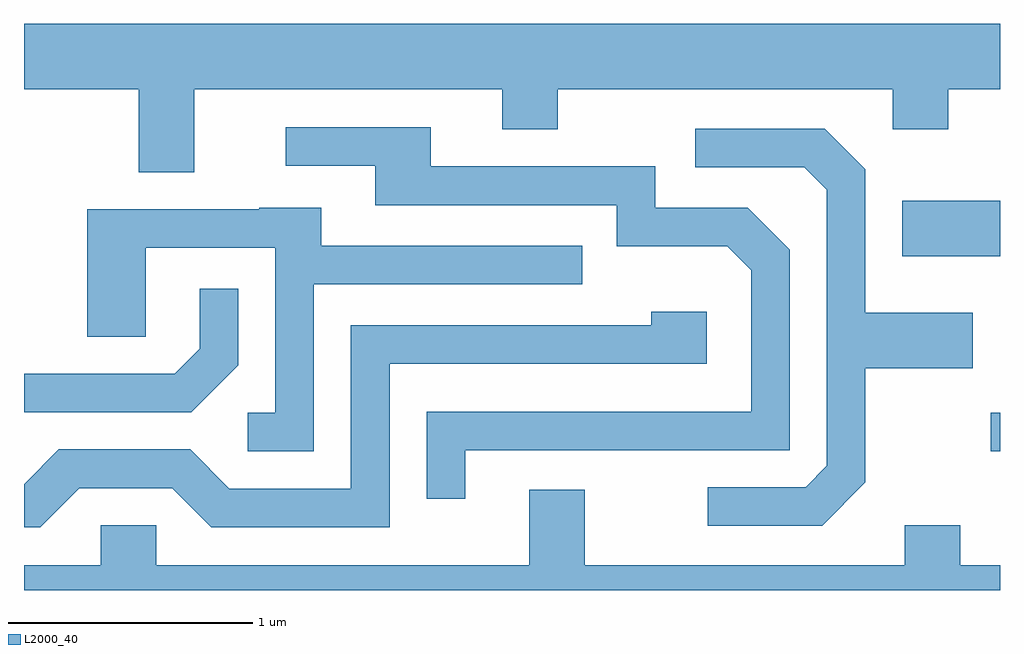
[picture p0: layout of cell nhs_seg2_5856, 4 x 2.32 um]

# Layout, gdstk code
import gdstk
lib = gdstk.Library(unit=1e-6, precision=1e-09)
def R(c, l, rs):  # rectangles x0, y0, x1, y1
    for r in rs: c.add(gdstk.rectangle(r[:2], r[2:], *l))
def P(c, l, *ps):  # polygons
    for p in ps: c.add(gdstk.Polygon(p, *l))
L2000_40 = (2000, 40)

nhs_seg2_5856 = lib.new_cell('nhs_seg2_5856')
R(nhs_seg2_5856, L2000_40, [(361.573,1062.371,361.611,1062.529), (361.211,1063.171,361.611,1063.399)])
P(nhs_seg2_5856, L2000_40, [(357.611,1063.856),(358.081,1063.856),(358.081,1063.516),(358.309,1063.516),(358.309,1063.856),(359.571,1063.856),(359.571,1063.691),(359.799,1063.691),(359.799,1063.856),(361.171,1063.856),(361.171,1063.691),(361.399,1063.691),(361.399,1063.856),(361.611,1063.856),(361.611,1064.124),(357.611,1064.124)],
  [(359.419,1062.376),(360.749,1062.376),(360.749,1063.197),(360.577,1063.369),(360.199,1063.369),(360.199,1063.539),(359.279,1063.539),(359.279,1063.699),(358.683,1063.699),(358.683,1063.541),(359.051,1063.541),(359.051,1063.381),(360.041,1063.381),(360.041,1063.211),(360.494,1063.211),(360.591,1063.114),(360.591,1062.534),(359.261,1062.534),(359.261,1062.178),(359.419,1062.178)],
  [(361.059,1062.244),(361.059,1062.711),(361.499,1062.711),(361.499,1062.939),(361.059,1062.939),(361.059,1063.527),(360.892,1063.694),(360.363,1063.694),(360.363,1063.536),(360.809,1063.536),(360.901,1063.444),(360.901,1062.312),(360.814,1062.224),(360.413,1062.224),(360.413,1062.066),(360.882,1062.066)],
  [(358.799,1063.056),(359.898,1063.056),(359.898,1063.214),(358.829,1063.214),(358.829,1063.369),(358.575,1063.369),(358.575,1063.364),(357.871,1063.364),(357.871,1062.841),(358.109,1062.841),(358.109,1063.206),(358.641,1063.206),(358.641,1062.529),(358.528,1062.529),(358.528,1062.371),(358.799,1062.371)],
  [(358.489,1062.724),(358.489,1063.038),(358.331,1063.038),(358.331,1062.792),(358.229,1062.689),(357.611,1062.689),(357.611,1062.531),(358.297,1062.531)],
  [(357.837,1062.221),(358.219,1062.221),(358.379,1062.061),(359.109,1062.061),(359.109,1062.731),(360.409,1062.731),(360.409,1062.944),(360.181,1062.944),(360.181,1062.889),(358.951,1062.889),(358.951,1062.219),(358.452,1062.219),(358.292,1062.379),(357.754,1062.379),(357.611,1062.236),(357.611,1062.061),(357.677,1062.061)],
  [(359.681,1062.214),(359.681,1061.904),(358.154,1061.904),(358.154,1062.069),(357.926,1062.069),(357.926,1061.904),(357.611,1061.904),(357.611,1061.802),(361.611,1061.802),(361.611,1061.904),(361.449,1061.904),(361.449,1062.069),(361.221,1062.069),(361.221,1061.904),(359.909,1061.904),(359.909,1062.214)])

lib.write_gds('nhs_seg2_5856.gds')
